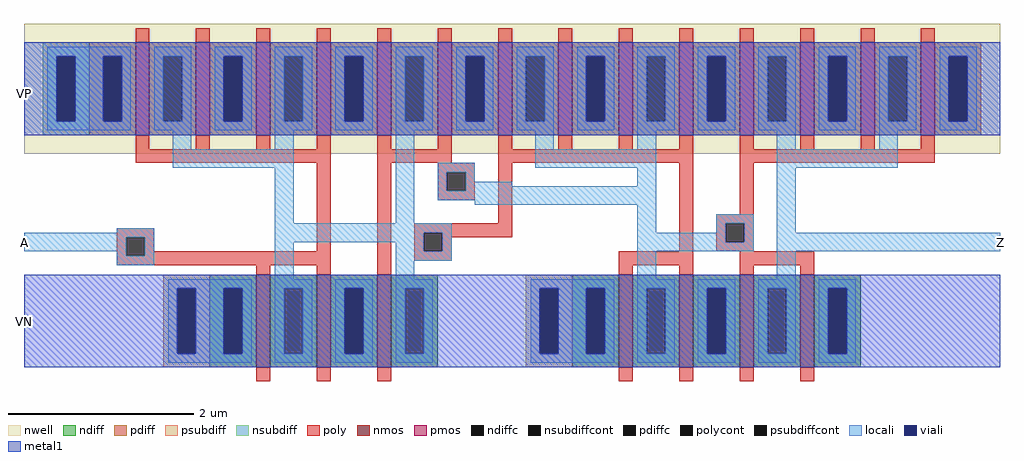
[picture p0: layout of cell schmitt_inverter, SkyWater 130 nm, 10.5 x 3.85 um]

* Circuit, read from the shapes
.subckt schmitt_inverter A Z VP VN
XM1 n1 A VN VN sky130_fd_pr__nfet_01v8 w=1 l=0.15 m=2
XM2 n1 n2 VN VN sky130_fd_pr__nfet_01v8 w=1 l=0.15
XM3 n2 n1 VN VN sky130_fd_pr__nfet_01v8 w=1 l=0.15 m=2
XM4 Z n2 VN VN sky130_fd_pr__nfet_01v8 w=1 l=0.15 m=2
XM5 n1 A VP VP sky130_fd_pr__pfet_01v8 w=1 l=0.15 m=4
XM6 n1 n2 VP VP sky130_fd_pr__pfet_01v8 w=1 l=0.15 m=2
XM7 n2 n1 VP VP sky130_fd_pr__pfet_01v8 w=1 l=0.15 m=4
XM8 Z n2 VP VP sky130_fd_pr__pfet_01v8 w=1 l=0.15 m=4
.ends

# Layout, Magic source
magic
tech sky130A
<< nwell >>
rect -120 230 930 370
<< nmos >>
rect 130 0 145 100
rect 195 0 210 100
rect 260 0 275 100
rect 520 0 535 100
rect 585 0 600 100
rect 650 0 665 100
rect 715 0 730 100
<< pmos >>
rect 0 250 15 350
rect 65 250 80 350
rect 130 250 145 350
rect 195 250 210 350
rect 260 250 275 350
rect 325 250 340 350
rect 390 250 405 350
rect 455 250 470 350
rect 520 250 535 350
rect 585 250 600 350
rect 650 250 665 350
rect 715 250 730 350
rect 780 250 795 350
rect 845 250 860 350
<< ndiff >>
rect 80 85 130 100
rect 80 15 95 85
rect 115 15 130 85
rect 80 0 130 15
rect 145 85 195 100
rect 145 15 160 85
rect 180 15 195 85
rect 145 0 195 15
rect 210 85 260 100
rect 210 15 225 85
rect 245 15 260 85
rect 210 0 260 15
rect 275 85 325 100
rect 275 15 290 85
rect 310 15 325 85
rect 275 0 325 15
rect 470 85 520 100
rect 470 15 485 85
rect 505 15 520 85
rect 470 0 520 15
rect 535 85 585 100
rect 535 15 550 85
rect 570 15 585 85
rect 535 0 585 15
rect 600 85 650 100
rect 600 15 615 85
rect 635 15 650 85
rect 600 0 650 15
rect 665 85 715 100
rect 665 15 680 85
rect 700 15 715 85
rect 665 0 715 15
rect 730 85 780 100
rect 730 15 745 85
rect 765 15 780 85
rect 730 0 780 15
<< pdiff >>
rect -50 335 0 350
rect -50 265 -35 335
rect -15 265 0 335
rect -50 250 0 265
rect 15 335 65 350
rect 15 265 30 335
rect 50 265 65 335
rect 15 250 65 265
rect 80 335 130 350
rect 80 265 95 335
rect 115 265 130 335
rect 80 250 130 265
rect 145 335 195 350
rect 145 265 160 335
rect 180 265 195 335
rect 145 250 195 265
rect 210 335 260 350
rect 210 265 225 335
rect 245 265 260 335
rect 210 250 260 265
rect 275 335 325 350
rect 275 265 290 335
rect 310 265 325 335
rect 275 250 325 265
rect 340 335 390 350
rect 340 265 355 335
rect 375 265 390 335
rect 340 250 390 265
rect 405 335 455 350
rect 405 265 420 335
rect 440 265 455 335
rect 405 250 455 265
rect 470 335 520 350
rect 470 265 485 335
rect 505 265 520 335
rect 470 250 520 265
rect 535 335 585 350
rect 535 265 550 335
rect 570 265 585 335
rect 535 250 585 265
rect 600 335 650 350
rect 600 265 615 335
rect 635 265 650 335
rect 600 250 650 265
rect 665 335 715 350
rect 665 265 680 335
rect 700 265 715 335
rect 665 250 715 265
rect 730 335 780 350
rect 730 265 745 335
rect 765 265 780 335
rect 730 250 780 265
rect 795 335 845 350
rect 795 265 810 335
rect 830 265 845 335
rect 795 250 845 265
rect 860 335 910 350
rect 860 265 875 335
rect 895 265 910 335
rect 860 250 910 265
<< ndiffc >>
rect 95 15 115 85
rect 160 15 180 85
rect 225 15 245 85
rect 290 15 310 85
rect 485 15 505 85
rect 550 15 570 85
rect 615 15 635 85
rect 680 15 700 85
rect 745 15 765 85
<< pdiffc >>
rect -35 265 -15 335
rect 30 265 50 335
rect 95 265 115 335
rect 160 265 180 335
rect 225 265 245 335
rect 290 265 310 335
rect 355 265 375 335
rect 420 265 440 335
rect 485 265 505 335
rect 550 265 570 335
rect 615 265 635 335
rect 680 265 700 335
rect 745 265 765 335
rect 810 265 830 335
rect 875 265 895 335
<< psubdiff >>
rect 30 85 80 100
rect 30 15 45 85
rect 65 15 80 85
rect 30 0 80 15
rect 420 85 470 100
rect 420 15 435 85
rect 455 15 470 85
rect 420 0 470 15
<< nsubdiff >>
rect -100 335 -50 350
rect -100 265 -85 335
rect -65 265 -50 335
rect -100 250 -50 265
<< psubdiffcont >>
rect 45 15 65 85
rect 435 15 455 85
<< nsubdiffcont >>
rect -85 265 -65 335
<< poly >>
rect 0 350 15 365
rect 65 350 80 365
rect 130 350 145 365
rect 195 350 210 365
rect 260 350 275 365
rect 325 350 340 365
rect 390 350 405 365
rect 455 350 470 365
rect 520 350 535 365
rect 585 350 600 365
rect 650 350 665 365
rect 715 350 730 365
rect 780 350 795 365
rect 845 350 860 365
rect 0 235 15 250
rect 65 235 80 250
rect 130 235 145 250
rect 195 235 210 250
rect 0 220 210 235
rect -20 140 20 150
rect -20 120 -10 140
rect 10 125 20 140
rect 195 125 210 220
rect 10 120 210 125
rect -20 110 210 120
rect 130 100 145 110
rect 195 100 210 110
rect 260 235 275 250
rect 325 235 340 250
rect 260 220 340 235
rect 390 235 405 250
rect 455 235 470 250
rect 520 235 535 250
rect 585 235 600 250
rect 390 220 600 235
rect 260 100 275 220
rect 325 210 365 220
rect 325 190 335 210
rect 355 190 365 210
rect 325 180 365 190
rect 390 155 405 220
rect 300 145 405 155
rect 300 125 310 145
rect 330 140 405 145
rect 330 125 340 140
rect 585 125 600 220
rect 650 235 665 250
rect 715 235 730 250
rect 780 235 795 250
rect 845 235 860 250
rect 650 220 860 235
rect 650 165 665 220
rect 625 155 665 165
rect 625 135 635 155
rect 655 135 665 155
rect 625 125 665 135
rect 300 115 340 125
rect 520 110 600 125
rect 520 100 535 110
rect 585 100 600 110
rect 650 110 730 125
rect 650 100 665 110
rect 715 100 730 110
rect 130 -15 145 0
rect 195 -15 210 0
rect 260 -15 275 0
rect 520 -15 535 0
rect 585 -15 600 0
rect 650 -15 665 0
rect 715 -15 730 0
<< polycont >>
rect -10 120 10 140
rect 335 190 355 210
rect 310 125 330 145
rect 635 135 655 155
<< locali >>
rect -95 335 -5 345
rect -95 265 -85 335
rect -65 265 -35 335
rect -15 265 -5 335
rect -95 255 -5 265
rect 20 335 60 345
rect 20 265 30 335
rect 50 265 60 335
rect 20 255 60 265
rect 85 335 125 345
rect 85 265 95 335
rect 115 265 125 335
rect 85 255 125 265
rect 150 335 190 345
rect 150 265 160 335
rect 180 265 190 335
rect 150 255 190 265
rect 215 335 255 345
rect 215 265 225 335
rect 245 265 255 335
rect 215 255 255 265
rect 280 335 320 345
rect 280 265 290 335
rect 310 265 320 335
rect 280 255 320 265
rect 345 335 385 345
rect 345 265 355 335
rect 375 265 385 335
rect 345 255 385 265
rect 410 335 450 345
rect 410 265 420 335
rect 440 265 450 335
rect 410 255 450 265
rect 475 335 515 345
rect 475 265 485 335
rect 505 265 515 335
rect 475 255 515 265
rect 540 335 580 345
rect 540 265 550 335
rect 570 265 580 335
rect 540 255 580 265
rect 605 335 645 345
rect 605 265 615 335
rect 635 265 645 335
rect 605 255 645 265
rect 670 335 710 345
rect 670 265 680 335
rect 700 265 710 335
rect 670 255 710 265
rect 735 335 775 345
rect 735 265 745 335
rect 765 265 775 335
rect 735 255 775 265
rect 800 335 840 345
rect 800 265 810 335
rect 830 265 840 335
rect 800 255 840 265
rect 865 335 905 345
rect 865 265 875 335
rect 895 265 905 335
rect 865 255 905 265
rect 40 235 60 255
rect 150 235 170 255
rect 40 215 170 235
rect 150 155 170 215
rect 280 155 300 255
rect 430 235 450 255
rect 540 235 560 255
rect 325 210 365 220
rect 430 215 560 235
rect 325 190 335 210
rect 355 200 365 210
rect 355 195 405 200
rect 540 195 560 215
rect 355 190 560 195
rect 325 180 560 190
rect 365 175 560 180
rect -20 145 20 150
rect -120 140 20 145
rect -120 125 -10 140
rect -20 120 -10 125
rect 10 120 20 140
rect -20 110 20 120
rect 150 145 340 155
rect 150 135 310 145
rect 150 95 170 135
rect 280 125 310 135
rect 330 125 340 145
rect 280 115 340 125
rect 540 145 560 175
rect 690 235 710 255
rect 800 235 820 255
rect 690 215 820 235
rect 625 155 665 165
rect 625 145 635 155
rect 540 135 635 145
rect 655 135 665 155
rect 540 125 665 135
rect 690 145 710 215
rect 690 125 930 145
rect 280 95 300 115
rect 540 95 560 125
rect 690 95 710 125
rect 35 85 125 95
rect 35 15 45 85
rect 65 15 95 85
rect 115 15 125 85
rect 35 5 125 15
rect 150 85 190 95
rect 150 15 160 85
rect 180 15 190 85
rect 150 5 190 15
rect 215 85 255 95
rect 215 15 225 85
rect 245 15 255 85
rect 215 5 255 15
rect 280 85 320 95
rect 280 15 290 85
rect 310 15 320 85
rect 280 5 320 15
rect 425 85 515 95
rect 425 15 435 85
rect 455 15 485 85
rect 505 15 515 85
rect 425 5 515 15
rect 540 85 580 95
rect 540 15 550 85
rect 570 15 580 85
rect 540 5 580 15
rect 605 85 645 95
rect 605 15 615 85
rect 635 15 645 85
rect 605 5 645 15
rect 670 85 710 95
rect 670 15 680 85
rect 700 15 710 85
rect 670 5 710 15
rect 735 85 775 95
rect 735 15 745 85
rect 765 15 775 85
rect 735 5 775 15
<< viali >>
rect -85 265 -65 335
rect -35 265 -15 335
rect 95 265 115 335
rect 225 265 245 335
rect 355 265 375 335
rect 485 265 505 335
rect 615 265 635 335
rect 745 265 765 335
rect 875 265 895 335
rect 45 15 65 85
rect 95 15 115 85
rect 225 15 245 85
rect 435 15 455 85
rect 485 15 505 85
rect 615 15 635 85
rect 745 15 765 85
<< metal1 >>
rect -120 335 930 350
rect -120 265 -85 335
rect -65 265 -35 335
rect -15 265 95 335
rect 115 265 225 335
rect 245 265 355 335
rect 375 265 485 335
rect 505 265 615 335
rect 635 265 745 335
rect 765 265 875 335
rect 895 265 930 335
rect -120 250 930 265
rect -120 85 930 100
rect -120 15 45 85
rect 65 15 95 85
rect 115 15 225 85
rect 245 15 435 85
rect 455 15 485 85
rect 505 15 615 85
rect 635 15 745 85
rect 765 15 930 85
rect -120 0 930 15
<< labels >>
rlabel metal1 -120 50 -120 50 7 VN
port 4 w
rlabel metal1 -120 295 -120 295 7 VP
port 3 w
rlabel locali 930 135 930 135 3 Z
port 2 e
rlabel locali -120 135 -120 135 7 A
port 1 w
<< end >>
